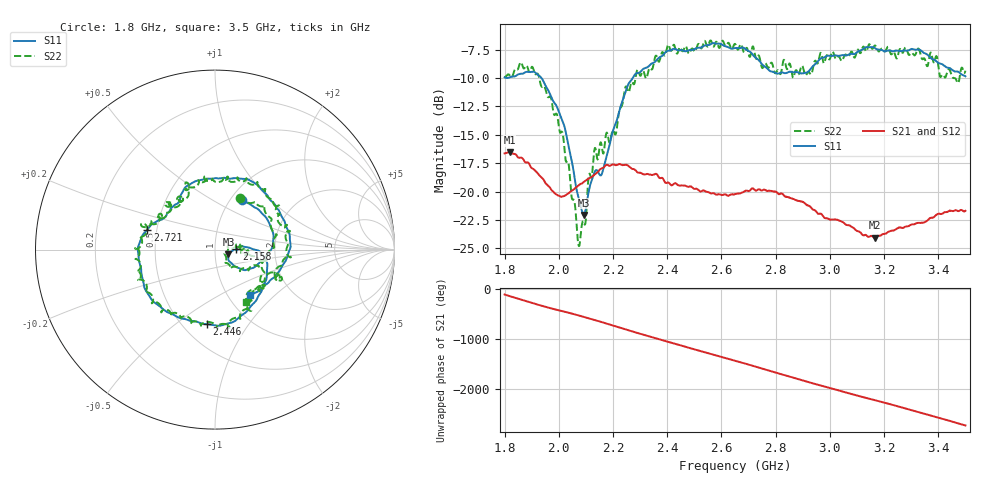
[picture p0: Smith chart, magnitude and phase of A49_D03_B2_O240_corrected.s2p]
! Created with skrf 1.9.0 (http://scikit-rf.org).
# Hz S RI R 50.0
!freq ReS11 ImS11 ReS21 ImS21 ReS12 ImS12 ReS22 ImS22
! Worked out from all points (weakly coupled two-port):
!   1601 points, 1.8 GHz to 3.5 GHz, reference 50 ohm
!   highest |S21| = -16.54 dB at 1.818 GHz (marker M1); lowest = -24.1 dB at 3.165 GHz (marker M2)
!   lowest |S11| = -22.1 dB at 2.092 GHz (marker M3), VSWR 1.17, Z = 58 - j3.02 ohm
!   |S11| at or under -10 dB: 1.80515 GHz to 1.812458 GHz (7.308 MHz wide, 0.404 % of centre); 1.936 GHz to 2.273 GHz (337.2 MHz wide, 16 % of centre)
!   |S22| runs from -24.8 to -6.7 dB; largest |S21 - S12| = 0.0026
!   S11 on the Smith chart (normalised r, x): 1.8 GHz: 1.13, +0.70; 2.158 GHz: 1.27, +0.01; 2.446 GHz: 0.65, -0.66; 2.721 GHz: 0.44, +0.12; 3.5 GHz: 1.27, -0.72
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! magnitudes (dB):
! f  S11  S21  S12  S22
! 1.8 GHz  -9.9  -16.6  -16.7  -9.9
! 1.818 GHz  -10.0  -16.5  -16.5  -9.8
! 1.903 GHz  -9.5  -18.0  -18.0  -9.0
! 1.968 GHz  -11.4  -19.7  -19.7  -11.6
! 2.015 GHz  -13.8  -20.4  -20.5  -14.9
! 2.072 GHz  -20.5  -19.5  -19.5  -24.7
! 2.084 GHz  -21.6  -19.3  -19.3  -23.1
! 2.092 GHz  -22.1  -19.1  -19.2  -22.7
! 2.13 GHz  -18.4  -18.5  -18.5  -16.4
! 2.158 GHz  -18.5  -18.0  -17.9  -15.9
! 2.209 GHz  -14.1  -17.7  -17.6  -15.0
! 2.257 GHz  -10.5  -17.7  -17.7  -11.3
! 2.367 GHz  -8.3  -18.7  -18.6  -8.5
! 2.446 GHz  -7.6  -19.5  -19.5  -7.3
! 2.65 GHz  -7.4  -20.2  -20.2  -7.0
! 2.721 GHz  -8.1  -19.8  -19.7  -7.6
! 2.802 GHz  -9.6  -20.0  -20.1  -9.5
! 2.934 GHz  -9.1  -21.5  -21.5  -9.6
! 3.165 GHz  -7.4  -24.1  -24.0  -7.2
! 3.217 GHz  -7.6  -23.5  -23.5  -7.4
! 3.468 GHz  -9.4  -21.7  -21.7  -10.3
! 3.5 GHz  -9.9  -21.7  -21.7  -9.4
